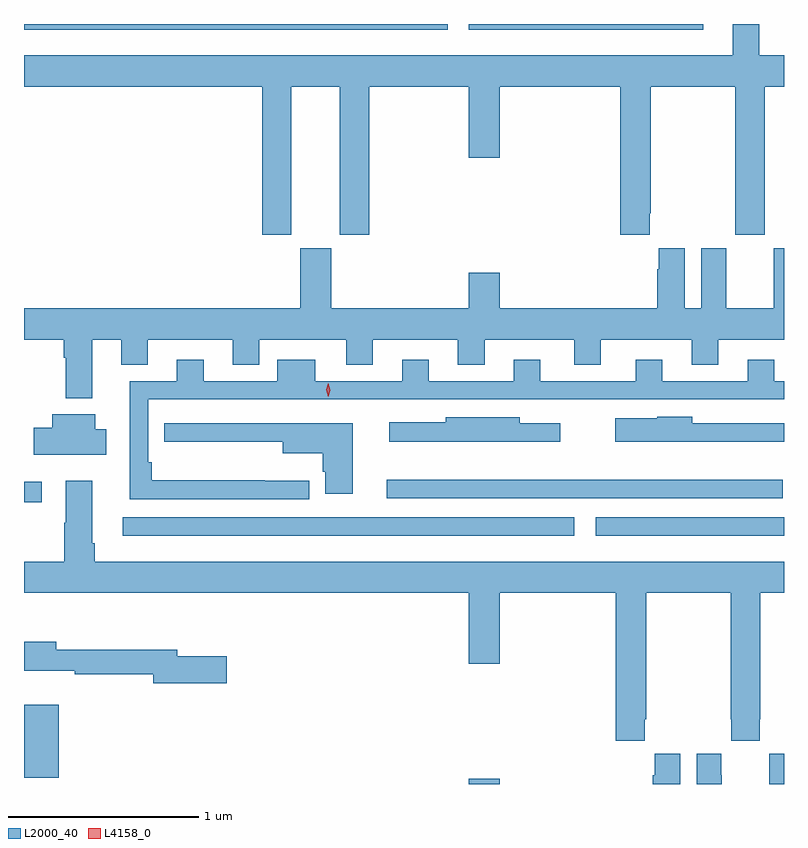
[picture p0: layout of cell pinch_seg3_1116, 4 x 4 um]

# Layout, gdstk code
import gdstk
lib = gdstk.Library(unit=1e-6, precision=1e-09)
def R(c, l, rs):  # rectangles x0, y0, x1, y1
    for r in rs: c.add(gdstk.rectangle(r[:2], r[2:], *l))
def P(c, l, *ps):  # polygons
    for p in ps: c.add(gdstk.Polygon(p, *l))
L2000_40 = (2000, 40)
L4158_0 = (4158, 0)

pinch_seg3_1116 = lib.new_cell('pinch_seg3_1116')
R(pinch_seg3_1116, L2000_40, [(129.044,713.229,129.208,713.257), (127.224,714.536,129.598,714.633), (129.711,714.536,130.703,714.633), (126.703,714.711,126.796,714.821), (128.613,714.732,130.696,714.83), (126.703,717.2,128.932,717.229), (129.045,717.2,130.279,717.229)])
P(pinch_seg3_1116, L2000_40, [(128.11,716.9),(128.366,716.9),(128.366,716.121),(128.519,716.121),(128.519,716.9),(129.044,716.9),(129.044,716.526),(129.208,716.526),(129.208,716.9),(129.842,716.9),(129.842,716.121),(129.997,716.121),(129.997,716.233),(130.002,716.233),(130.002,716.9),(130.447,716.9),(130.447,716.121),(130.602,716.121),(130.602,716.9),(130.703,716.9),(130.703,717.064),(130.573,717.064),(130.573,717.229),(130.433,717.229),(130.433,717.064),(126.703,717.064),(126.703,716.9),(127.958,716.9),(127.958,716.121),(128.11,716.121)],
  [(127.063,715.568),(127.214,715.568),(127.214,715.435),(127.354,715.435),(127.354,715.568),(127.802,715.568),(127.802,715.435),(127.942,715.435),(127.942,715.568),(128.399,715.568),(128.399,715.435),(128.539,715.435),(128.539,715.568),(128.987,715.568),(128.987,715.435),(129.127,715.435),(129.127,715.568),(129.599,715.568),(129.599,715.435),(129.739,715.435),(129.739,715.568),(130.217,715.568),(130.217,715.435),(130.357,715.435),(130.357,715.568),(130.703,715.568),(130.703,716.05),(130.649,716.05),(130.649,715.732),(130.399,715.732),(130.399,716.05),(130.268,716.05),(130.268,715.732),(130.18,715.732),(130.18,716.05),(130.043,716.05),(130.043,715.937),(130.037,715.937),(130.037,715.732),(129.208,715.732),(129.208,715.921),(129.044,715.921),(129.044,715.732),(128.32,715.732),(128.32,716.049),(128.156,716.049),(128.156,715.732),(126.703,715.732),(126.703,715.568),(126.911,715.568),(126.911,715.472),(126.923,715.472),(126.923,715.259),(127.063,715.259)],
  [(128.203,714.826),(127.97,714.826),(127.97,714.827),(127.376,714.827),(127.376,714.922),(127.356,714.922),(127.356,715.254),(130.703,715.254),(130.703,715.35),(130.651,715.35),(130.651,715.462),(130.511,715.462),(130.511,715.35),(130.063,715.35),(130.063,715.462),(129.923,715.462),(129.923,715.35),(129.421,715.35),(129.421,715.462),(129.281,715.462),(129.281,715.35),(128.833,715.35),(128.833,715.462),(128.693,715.462),(128.693,715.35),(128.236,715.35),(128.236,715.462),(128.036,715.462),(128.036,715.35),(127.648,715.35),(127.648,715.462),(127.508,715.462),(127.508,715.35),(127.26,715.35),(127.26,714.729),(128.203,714.729)],
  [(127.135,715.096),(127.078,715.096),(127.078,715.174),(126.851,715.174),(126.851,715.104),(126.755,715.104),(126.755,714.962),(127.135,714.962)],
  [(130.703,715.128),(130.219,715.128),(130.219,715.162),(130.035,715.162),(130.035,715.153),(129.816,715.153),(129.816,715.031),(130.703,715.031)],
  [(129.526,715.128),(129.312,715.128),(129.312,715.159),(128.922,715.159),(128.922,715.132),(128.625,715.132),(128.625,715.031),(129.526,715.031)],
  [(128.434,715.129),(128.17,715.129),(128.17,715.128),(127.552,715.128),(127.552,715.127),(127.441,715.127),(127.441,715.031),(128.066,715.031),(128.066,714.971),(128.276,714.971),(128.276,714.872),(128.288,714.872),(128.288,714.756),(128.434,714.756)],
  [(129.971,713.569),(129.977,713.569),(129.977,714.236),(130.423,714.236),(130.423,713.569),(130.425,713.569),(130.425,713.457),(130.575,713.457),(130.575,713.569),(130.578,713.569),(130.578,714.236),(130.703,714.236),(130.703,714.4),(127.076,714.4),(127.076,714.496),(127.063,714.496),(127.063,714.826),(126.923,714.826),(126.923,714.605),(126.916,714.605),(126.916,714.4),(126.703,714.4),(126.703,714.236),(129.044,714.236),(129.044,713.862),(129.208,713.862),(129.208,714.236),(129.818,714.236),(129.818,713.457),(129.971,713.457)],
  [(127.771,713.901),(127.51,713.901),(127.51,713.935),(126.874,713.935),(126.874,713.977),(126.703,713.977),(126.703,713.825),(126.97,713.825),(126.97,713.806),(127.382,713.806),(127.382,713.759),(127.771,713.759)],
  [(126.887,713.645),(126.703,713.645),(126.703,713.535),(126.704,713.535),(126.704,713.262),(126.887,713.262)],
  [(130.703,713.389),(130.626,713.389),(130.626,713.276),(130.625,713.276),(130.625,713.229),(130.703,713.229)],
  [(130.375,713.276),(130.374,713.276),(130.374,713.389),(130.244,713.389),(130.244,713.229),(130.375,713.229)],
  [(130.156,713.389),(130.022,713.389),(130.022,713.276),(130.013,713.276),(130.013,713.229),(130.156,713.229)])
P(pinch_seg3_1116, L4158_0, [(128.303,715.267),(128.303,715.267),(128.294,715.303),(128.305,715.338),(128.305,715.338),(128.305,715.338),(128.314,715.302),(128.303,715.267)])

lib.write_gds('pinch_seg3_1116.gds')
